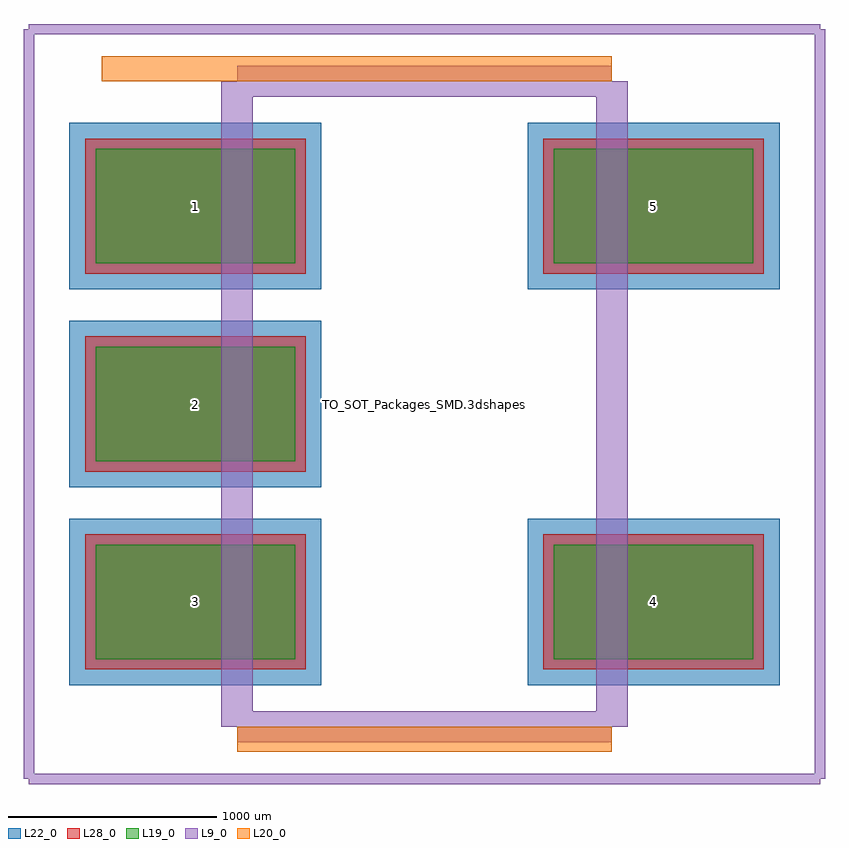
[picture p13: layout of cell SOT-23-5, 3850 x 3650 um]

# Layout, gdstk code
import gdstk
lib = gdstk.Library(unit=1e-6, precision=1e-09)
def R(c, l, rs):  # rectangles x0, y0, x1, y1
    for r in rs: c.add(gdstk.rectangle(r[:2], r[2:], *l))
def A(c, l, x, y, w, h, nx, ny, dx, dy):  # array of equal rectangles
    R(c, l, [(x+i*dx, y+j*dy, x+i*dx+w, y+j*dy+h) for i in range(nx) for j in range(ny)])
L9_0 = (9, 0)
L19_0 = (19, 0)
L20_0 = (20, 0)
L22_0 = (22, 0)
L28_0 = (28, 0)

sot_23_5 = lib.new_cell('SOT-23-5')
A(sot_23_5, L19_0, -1580, -1225, 960, 550, 1, 3, 0, 950)
R(sot_23_5, L19_0, [(620,-1225,1580,-675), (620,675,1580,1225)])
A(sot_23_5, L22_0, -1705, -1350, 1210, 800, 1, 3, 0, 950)
R(sot_23_5, L22_0, [(495,-1350,1705,-550), (495,550,1705,1350)])
A(sot_23_5, L28_0, -1630, -1275, 1060, 650, 1, 3, 0, 950)
R(sot_23_5, L28_0, [(570,-1275,1630,-625), (570,625,1630,1275)])
sot_23_5.add(gdstk.FlexPath([(900,1550),(900,-1550)], 149.998, ends="flush", simple_path=True, layer=9, datatype=0))  # L9_0
sot_23_5.add(gdstk.FlexPath([(900,-1550),(-900,-1550)], 149.998, ends="flush", simple_path=True, layer=9, datatype=0))  # L9_0
sot_23_5.add(gdstk.FlexPath([(-900,1550),(-900,-1550)], 149.998, ends="flush", simple_path=True, layer=9, datatype=0))  # L9_0
sot_23_5.add(gdstk.FlexPath([(900,1550),(-900,1550)], 149.998, ends="flush", simple_path=True, layer=9, datatype=0))  # L9_0
sot_23_5.add(gdstk.FlexPath([(-1900,-1800),(-1900,1800)], 50, ends="flush", simple_path=True, layer=9, datatype=0))  # L9_0
sot_23_5.add(gdstk.FlexPath([(1900,-1800),(-1900,-1800)], 50, ends="flush", simple_path=True, layer=9, datatype=0))  # L9_0
sot_23_5.add(gdstk.FlexPath([(1900,1800),(1900,-1800)], 50, ends="flush", simple_path=True, layer=9, datatype=0))  # L9_0
sot_23_5.add(gdstk.FlexPath([(-1900,1800),(1900,1800)], 50, ends="flush", simple_path=True, layer=9, datatype=0))  # L9_0
sot_23_5.add(gdstk.FlexPath([(900,1610),(-1550,1610)], 119.998, ends="flush", simple_path=True, layer=20, datatype=0))  # L20_0
sot_23_5.add(gdstk.FlexPath([(-900,-1610),(900,-1610)], 119.998, ends="flush", simple_path=True, layer=20, datatype=0))  # L20_0
sot_23_5.add(gdstk.Label('TO_SOT_Packages_SMD.3dshapes/SOT-23-5.wrl', (0,0), layer=12, texttype=0))
sot_23_5.add(gdstk.Label('5', (1100,950), layer=28, texttype=0))
sot_23_5.add(gdstk.Label('4', (1100,-950), layer=28, texttype=0))
sot_23_5.add(gdstk.Label('3', (-1100,-950), layer=28, texttype=0))
sot_23_5.add(gdstk.Label('2', (-1100,0), layer=28, texttype=0))
sot_23_5.add(gdstk.Label('1', (-1100,950), layer=28, texttype=0))
sot_23_5.add(gdstk.Label('type', (0,-2900), layer=9, texttype=0))
sot_23_5.add(gdstk.Label('devicename', (0,2900), layer=9, texttype=0))

lib.write_gds('SOT-23-5.gds')
